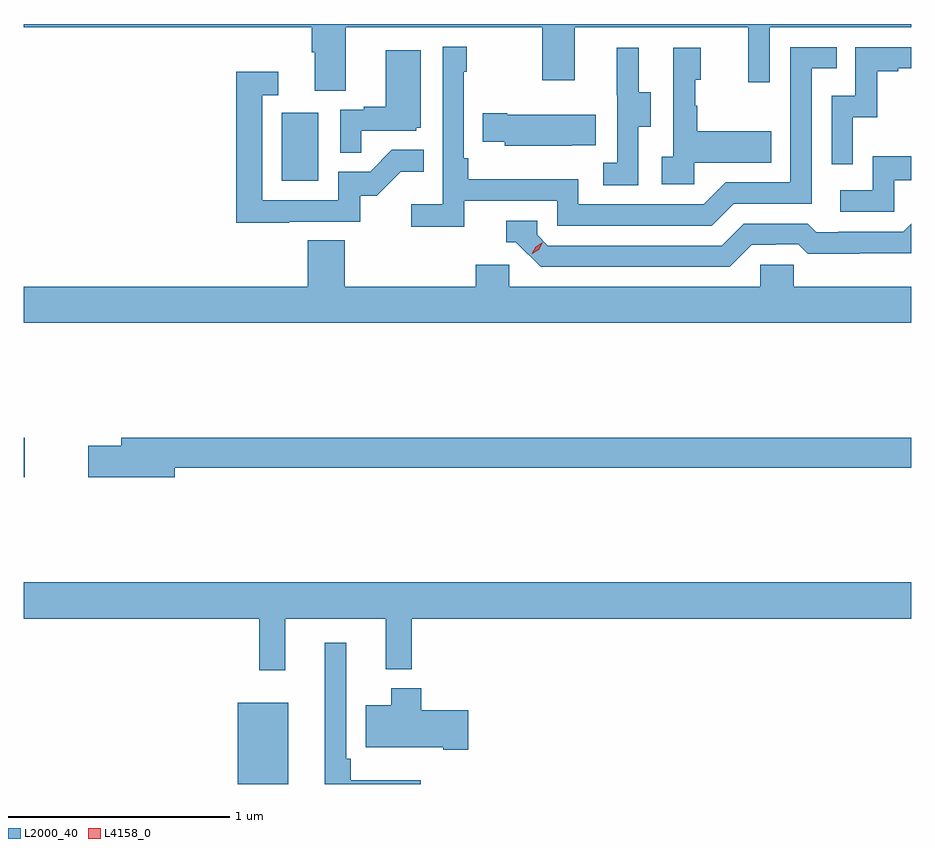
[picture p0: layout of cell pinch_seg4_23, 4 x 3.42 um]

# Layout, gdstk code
import gdstk
lib = gdstk.Library(unit=1e-6, precision=1e-09)
def R(c, l, rs):  # rectangles x0, y0, x1, y1
    for r in rs: c.add(gdstk.rectangle(r[:2], r[2:], *l))
def P(c, l, *ps):  # polygons
    for p in ps: c.add(gdstk.Polygon(p, *l))
L2000_40 = (2000, 40)
L4158_0 = (4158, 0)

pinch_seg4_23 = lib.new_cell('pinch_seg4_23')
R(pinch_seg4_23, L2000_40, [(1107.512,829.375,1107.739,829.741), (1106.546,830.758,1106.551,830.936), (1107.71,832.092,1107.874,832.399)])
P(pinch_seg4_23, L2000_40, [(1107.997,832.784),(1108.882,832.784),(1108.882,832.545),(1109.029,832.545),(1109.029,832.784),(1109.81,832.784),(1109.81,832.536),(1109.907,832.536),(1109.907,832.784),(1110.546,832.784),(1110.546,832.799),(1106.546,832.799),(1106.546,832.784),(1107.845,832.784),(1107.845,832.672),(1107.857,832.672),(1107.857,832.498),(1107.997,832.498)],
  [(1108.532,832.002),(1108.95,832.002),(1108.95,831.891),(1109.647,831.891),(1109.746,831.99),(1110.096,831.99),(1110.096,832.599),(1110.209,832.599),(1110.209,832.695),(1110,832.695),(1110,832.086),(1109.709,832.086),(1109.61,831.987),(1109.046,831.987),(1109.046,832.099),(1108.55,832.099),(1108.55,832.195),(1108.53,832.195),(1108.53,832.583),(1108.543,832.583),(1108.543,832.696),(1108.434,832.696),(1108.434,831.988),(1108.293,831.988),(1108.293,831.886),(1108.532,831.886)],
  [(1110.282,832.379),(1110.392,832.379),(1110.392,832.587),(1110.487,832.587),(1110.487,832.599),(1110.546,832.599),(1110.546,832.695),(1110.294,832.695),(1110.294,832.476),(1110.186,832.476),(1110.186,832.167),(1110.282,832.167)],
  [(1109.316,832.336),(1109.371,832.336),(1109.371,832.491),(1109.317,832.491),(1109.317,832.693),(1109.219,832.693),(1109.219,832.479),(1109.22,832.479),(1109.22,832.175),(1109.157,832.175),(1109.157,832.072),(1109.316,832.072)],
  [(1109.568,832.175),(1109.915,832.175),(1109.915,832.315),(1109.581,832.315),(1109.581,832.43),(1109.571,832.43),(1109.571,832.548),(1109.596,832.548),(1109.596,832.693),(1109.472,832.693),(1109.472,832.202),(1109.421,832.202),(1109.421,832.077),(1109.568,832.077)],
  [(1108.067,832.317),(1108.314,832.317),(1108.314,832.332),(1108.336,832.332),(1108.336,832.681),(1108.178,832.681),(1108.178,832.426),(1108.079,832.426),(1108.079,832.413),(1107.972,832.413),(1107.972,832.219),(1108.067,832.219)],
  [(1107.743,831.909),(1108.062,831.909),(1108.062,832.026),(1108.138,832.026),(1108.245,832.133),(1108.349,832.133),(1108.349,832.232),(1108.205,832.232),(1108.107,832.134),(1107.963,832.134),(1107.963,832.005),(1107.621,832.005),(1107.621,832.479),(1107.694,832.479),(1107.694,832.585),(1107.505,832.585),(1107.505,831.904),(1107.743,831.904)],
  [(1109.015,832.253),(1109.123,832.253),(1109.123,832.39),(1108.726,832.39),(1108.726,832.398),(1108.615,832.398),(1108.615,832.268),(1108.713,832.268),(1108.713,832.25),(1109.015,832.25)],
  [(1110.468,832.095),(1110.546,832.095),(1110.546,832.204),(1110.372,832.204),(1110.372,832.05),(1110.225,832.05),(1110.225,831.954),(1110.468,831.954)],
  [(1109.827,831.804),(1109.934,831.804),(1109.934,831.807),(1110.037,831.807),(1110.079,831.765),(1110.312,831.765),(1110.312,831.767),(1110.546,831.767),(1110.546,831.9),(1110.51,831.864),(1110.217,831.864),(1110.217,831.861),(1110.118,831.861),(1110.079,831.9),(1109.79,831.9),(1109.691,831.801),(1108.908,831.801),(1108.86,831.849),(1108.86,831.912),(1108.721,831.912),(1108.721,831.816),(1108.764,831.816),(1108.875,831.705),(1109.728,831.705)],
  [(1110.546,831.616),(1110.015,831.616),(1110.015,831.714),(1109.865,831.714),(1109.865,831.616),(1108.734,831.616),(1108.734,831.714),(1108.583,831.714),(1108.583,831.616),(1107.992,831.616),(1107.992,831.824),(1107.827,831.824),(1107.827,831.616),(1106.546,831.616),(1106.546,831.452),(1110.546,831.452)],
  [(1107.226,830.8),(1110.546,830.8),(1110.546,830.936),(1106.987,830.936),(1106.987,830.9),(1106.838,830.9),(1106.838,830.758),(1107.226,830.758)],
  [(1107.725,830.12),(1108.178,830.12),(1108.178,829.892),(1108.295,829.892),(1108.295,830.12),(1110.546,830.12),(1110.546,830.284),(1106.546,830.284),(1106.546,830.12),(1107.607,830.12),(1107.607,829.887),(1107.725,829.887)],
  [(1108.336,829.393),(1108.019,829.393),(1108.019,829.489),(1107.999,829.489),(1107.999,830.011),(1107.902,830.011),(1107.902,829.375),(1108.336,829.375)],
  [(1108.549,829.707),(1108.337,829.707),(1108.337,829.807),(1108.202,829.807),(1108.202,829.729),(1108.088,829.729),(1108.088,829.541),(1108.436,829.541),(1108.436,829.529),(1108.549,829.529)])
P(pinch_seg4_23, L4158_0, [(1108.836,831.763),(1108.836,831.764),(1108.853,831.796),(1108.884,831.815),(1108.884,831.815),(1108.884,831.815),(1108.868,831.782),(1108.837,831.763)])

lib.write_gds('pinch_seg4_23.gds')
